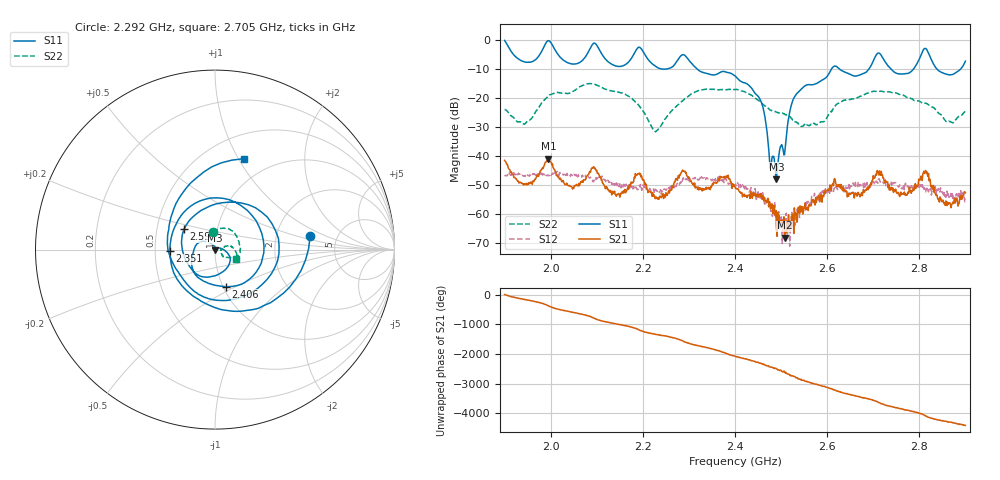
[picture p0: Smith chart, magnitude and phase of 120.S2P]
! C:\Users\rflab\Downloads\Lab5_KD_ZW\120.S2P
! Touchstone 1.1 file saved by VNA.EXE V1.65 (www.ke5fx.com/gpib/readme.htm)
! 11/12/2024 12:11:10 AM
!  Source: HEWLETT PACKARD,8753D,0,6.14
!  Min freq: 1.900000E+009 Hz
!  Max freq: 2.900000E+009 Hz
!  Points: 801
!  Params: S11 S21 S12 S22
# GHZ S RI R 50
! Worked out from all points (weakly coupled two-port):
!   801 points, 1.9 GHz to 2.9 GHz, reference 50 ohm
!   highest |S21| = -40.98 dB at 1.995 GHz (marker M1); lowest = -68.3 dB at 2.507 GHz (marker M2)
!   lowest |S11| = -48.1 dB at 2.49 GHz (marker M3), VSWR 1.01, Z = 49.8 - j0.301 ohm
!   |S11| at or under -10 dB: 2.318 GHz to 2.609 GHz (290.9 MHz wide, 11.8 % of centre); 2.627 GHz to 2.69 GHz (63.25 MHz wide, 2.38 % of centre); 2.839 GHz to 2.889 GHz (50.82 MHz wide, 1.77 % of centre) (the widest 3 of 5)
!   |S22| runs from -31.7 to -15.0 dB; largest |S21 - S12| = 0.0045
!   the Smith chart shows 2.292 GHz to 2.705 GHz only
!   S11 on the Smith chart (normalised r, x): 2.292 GHz: 3.14, +0.69; 2.351 GHz: 0.60, -0.01; 2.406 GHz: 1.03, -0.45; 2.59 GHz: 0.69, +0.17; 2.705 GHz: 0.75, +1.06
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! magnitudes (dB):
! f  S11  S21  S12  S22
! 1.9 GHz  -0.1  -41.6  -46.7  -23.9
! 1.946 GHz  -7.6  -49.9  -46.8  -28.5
! 1.995 GHz  -0.1  -41.0  -46.9  -19.3
! 2.067 GHz  -7.1  -49.0  -47.4  -15.8
! 2.095 GHz  -1.0  -44.4  -48.6  -15.2
! 2.146 GHz  -9.1  -53.2  -49.3  -17.9
! 2.19 GHz  -2.5  -46.2  -51.6  -22.3
! 2.234 GHz  -9.6  -54.4  -52.0  -30.6
! 2.292 GHz  -5.4  -45.9  -48.1  -20.1
! 2.351 GHz  -12.0  -49.6  -48.1  -17.0
! 2.4 GHz  -12.3  -50.7  -50.2  -17.0
! 2.406 GHz  -13.3  -51.4  -49.4  -17.1
! 2.455 GHz  -20.6  -54.0  -54.6  -21.3
! 2.49 GHz  -48.1  -64.8  -60.0  -24.8
! 2.507 GHz  -39.6  -68.3  -67.1  -25.5
! 2.527 GHz  -20.0  -66.9  -60.5  -27.9
! 2.567 GHz  -15.4  -55.2  -55.7  -28.7
! 2.59 GHz  -13.7  -53.9  -52.9  -28.2
! 2.705 GHz  -5.5  -46.5  -49.7  -17.7
! 2.734 GHz  -9.1  -50.2  -50.1  -17.8
! 2.812 GHz  -2.8  -45.5  -51.7  -21.8
! 2.9 GHz  -7.2  -52.8  -54.8  -24.6
